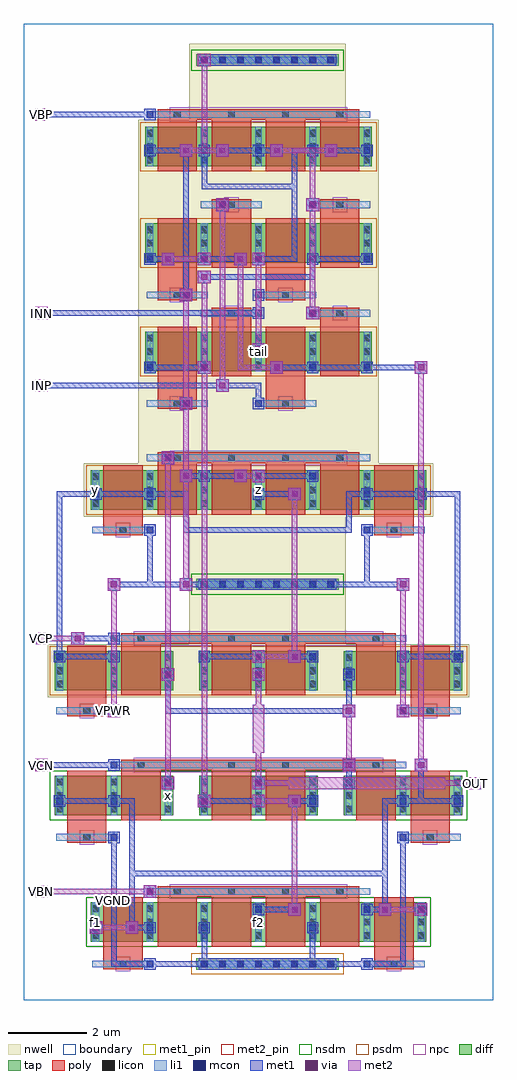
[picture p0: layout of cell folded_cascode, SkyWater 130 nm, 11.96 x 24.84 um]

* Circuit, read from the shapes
.subckt folded_cascode INN INP OUT VBN VBP VCN VCP VGND VPWR f1 f2 tail x y z
XM1 f1 VGND f1 VGND sky130_fd_pr__nfet_01v8 w=1 l=1 m=4
XM2 x VCN f1 VGND sky130_fd_pr__nfet_01v8 w=1 l=1 m=2
XM3 VGND VBN f1 VGND sky130_fd_pr__nfet_01v8 w=1 l=1 m=2
XM4 f2 VBN VGND VGND sky130_fd_pr__nfet_01v8 w=1 l=1 m=2
XM5 OUT VCN f2 VGND sky130_fd_pr__nfet_01v8 w=1 l=1 m=2
XM6 y VPWR y VPWR sky130_fd_pr__pfet_01v8 w=1 l=1 m=4
XM7 x VCP y VPWR sky130_fd_pr__pfet_01v8 w=1 l=1 m=2
XM8 VPWR x y VPWR sky130_fd_pr__pfet_01v8 w=1 l=1 m=2
XM9 f2 VPWR f2 VPWR sky130_fd_pr__pfet_01v8 w=1 l=1 m=2
XM10 f1 VPWR f1 VPWR sky130_fd_pr__pfet_01v8 w=1 l=1 m=2
XM11 tail VBP VPWR VPWR sky130_fd_pr__pfet_01v8 w=1 l=1 m=4
XM12 OUT VCP z VPWR sky130_fd_pr__pfet_01v8 w=1 l=1 m=2
XM13 z x VPWR VPWR sky130_fd_pr__pfet_01v8 w=1 l=1 m=2
XM14 tail INN f2 VPWR sky130_fd_pr__pfet_01v8 w=1 l=1 m=2
XM15 tail INP f1 VPWR sky130_fd_pr__pfet_01v8 w=1 l=1 m=2
.ends

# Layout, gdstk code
import gdstk
lib = gdstk.Library(unit=1e-6, precision=1e-09)
def R(c, l, rs):  # rectangles x0, y0, x1, y1
    for r in rs: c.add(gdstk.rectangle(r[:2], r[2:], *l))
def A(c, l, x, y, w, h, nx, ny, dx, dy):  # array of equal rectangles
    R(c, l, [(x+i*dx, y+j*dy, x+i*dx+w, y+j*dy+h) for i in range(nx) for j in range(ny)])
nwell = (64, 20)
diff = (65, 20)
tap = (65, 44)
poly = (66, 20)
licon = (66, 44)
li1 = (67, 20)
mcon = (67, 44)
met1_pin = (68, 16)
met1 = (68, 20)
via = (68, 44)
met2_pin = (69, 16)
met2 = (69, 20)
nsdm = (93, 44)
psdm = (94, 20)
npc = (95, 20)
boundary = (235, 4)

folded_cascode = lib.new_cell('folded_cascode')
R(folded_cascode, nwell, [(0.615,7.7,11.345,9.06), (4.215,9.06,8.205,12.3), (1.535,12.3,10.425,13.66), (2.915,13.66,9.045,22.4), (4.215,22.4,8.205,24.34)])
A(folded_cascode, diff, 0.795, 4.705, 3.01, 1, 3, 2, 3.68, 3.175)
R(folded_cascode, diff, [(1.715,1.485,10.245,2.485), (1.715,12.48,10.245,13.48), (3.095,16.005,8.865,17.005), (3.095,18.765,8.865,19.765), (3.095,21.22,8.865,22.22)])
R(folded_cascode, tap, [(4.395,0.775,8.025,1.065), (4.395,10.435,8.025,10.725), (4.395,23.775,8.025,24.065)])
A(folded_cascode, poly, 3.41, 1.355, 1, 1.405, 4, 1, 1.38, 0)
A(folded_cascode, poly, 3.41, 12.35, 1, 1.45, 4, 2, 1.38, 8.74)
R(folded_cascode, poly, [(2.03,0.785,3.03,1.055), (8.93,0.785,9.93,1.055), (2.03,0.92,3.03,2.615), (8.93,0.92,9.93,2.615), (3.41,2.625,8.55,2.895), (1.11,4.005,2.11,4.275), (9.85,4.005,10.85,4.275), (1.11,4.14,2.11,5.835), (9.85,4.14,10.85,5.835), (2.49,4.575,3.49,5.98), (4.79,4.575,5.79,5.98), (6.17,4.575,7.17,5.98), (8.47,4.575,9.47,5.98), (2.49,5.845,9.47,6.115), (1.11,7.225,2.11,7.495), (9.85,7.225,10.85,7.495), (1.11,7.36,2.11,9.01), (9.85,7.36,10.85,9.01), (2.49,7.75,3.49,9.2), (4.79,7.75,5.79,9.2), (6.17,7.75,7.17,9.2), (8.47,7.75,9.47,9.2), (2.49,9.065,9.47,9.335), (2.03,11.825,3.03,12.095), (8.93,11.825,9.93,12.095), (2.03,11.96,3.03,13.61), (8.93,11.96,9.93,13.61), (3.41,13.665,8.55,13.935), (3.41,15.045,4.41,15.315), (6.17,15.045,7.17,15.315), (3.41,15.18,4.41,17.135), (6.17,15.18,7.17,17.135), (4.79,15.875,5.79,17.48), (7.55,15.875,8.55,17.48), (4.79,17.345,5.79,17.615), (7.55,17.345,8.55,17.615), (3.41,17.805,4.41,18.075), (6.17,17.805,7.17,18.075), (3.41,17.94,4.41,19.895), (6.17,17.94,7.17,19.895), (4.79,18.635,5.79,20.24), (7.55,18.635,8.55,20.24), (4.79,20.105,5.79,20.375), (7.55,20.105,8.55,20.375), (3.41,22.405,8.55,22.675)])
A(folded_cascode, licon, 4.515, 0.835, 0.17, 0.17, 8, 2, 0.46, 9.66)
A(folded_cascode, licon, 1.755, 1.56, 0.17, 0.17, 7, 3, 1.38, 0.34)
A(folded_cascode, licon, 3.825, 2.675, 0.17, 0.17, 4, 2, 1.38, 11.04)
A(folded_cascode, licon, 0.835, 4.78, 0.17, 0.17, 3, 3, 1.38, 0.34)
A(folded_cascode, licon, 4.515, 4.78, 0.17, 0.17, 3, 3, 1.38, 0.34)
A(folded_cascode, licon, 8.195, 4.78, 0.17, 0.17, 3, 3, 1.38, 0.34)
A(folded_cascode, licon, 0.835, 7.955, 0.17, 0.17, 3, 3, 1.38, 0.34)
A(folded_cascode, licon, 4.515, 7.955, 0.17, 0.17, 3, 3, 1.38, 0.34)
A(folded_cascode, licon, 8.195, 7.955, 0.17, 0.17, 3, 3, 1.38, 0.34)
A(folded_cascode, licon, 1.755, 12.555, 0.17, 0.17, 7, 3, 1.38, 0.34)
A(folded_cascode, licon, 3.135, 16.08, 0.17, 0.17, 5, 3, 1.38, 0.34)
A(folded_cascode, licon, 3.135, 18.84, 0.17, 0.17, 5, 3, 1.38, 0.34)
A(folded_cascode, licon, 3.135, 21.295, 0.17, 0.17, 5, 3, 1.38, 0.34)
A(folded_cascode, licon, 3.825, 22.455, 0.17, 0.17, 4, 1, 1.38, 0)
A(folded_cascode, licon, 4.515, 23.835, 0.17, 0.17, 8, 1, 0.46, 0)
R(folded_cascode, licon, [(2.445,0.835,2.615,1.005), (9.345,0.835,9.515,1.005), (1.525,4.055,1.695,4.225), (10.265,4.055,10.435,4.225), (2.905,5.895,3.075,6.065), (5.205,5.895,5.375,6.065), (6.585,5.895,6.755,6.065), (8.885,5.895,9.055,6.065), (1.525,7.275,1.695,7.445), (10.265,7.275,10.435,7.445), (2.905,9.115,3.075,9.285), (5.205,9.115,5.375,9.285), (6.585,9.115,6.755,9.285), (8.885,9.115,9.055,9.285), (2.445,11.875,2.615,12.045), (9.345,11.875,9.515,12.045), (3.825,15.095,3.995,15.265), (6.585,15.095,6.755,15.265), (5.205,17.395,5.375,17.565), (7.965,17.395,8.135,17.565), (3.825,17.855,3.995,18.025), (6.585,17.855,6.755,18.025), (5.205,20.155,5.375,20.325), (7.965,20.155,8.135,20.325)])
A(folded_cascode, li1, 1.755, 1.48, 0.17, 1.01, 7, 2, 1.38, 10.995)
A(folded_cascode, li1, 0.835, 4.7, 0.17, 1.01, 3, 2, 1.38, 3.175)
A(folded_cascode, li1, 4.515, 4.7, 0.17, 1.01, 3, 2, 1.38, 3.175)
A(folded_cascode, li1, 8.195, 4.7, 0.17, 1.01, 3, 2, 1.38, 3.175)
A(folded_cascode, li1, 3.135, 16, 0.17, 1.01, 5, 2, 1.38, 2.76)
A(folded_cascode, li1, 3.135, 21.215, 0.17, 1.01, 5, 1, 1.38, 0)
R(folded_cascode, li1, [(1.755,0.835,3.305,1.005), (4.435,0.835,7.985,1.005), (8.655,0.835,10.205,1.005), (3.135,2.675,8.825,2.845), (0.835,4.055,2.385,4.225), (9.575,4.055,11.125,4.225), (2.215,5.895,9.745,6.065), (0.835,7.275,2.385,7.445), (9.575,7.275,11.125,7.445), (2.215,9.115,9.745,9.285), (4.435,10.495,7.985,10.665), (1.755,11.875,3.305,12.045), (8.655,11.875,10.205,12.045), (3.135,13.715,8.825,13.885), (3.135,15.095,4.685,15.265), (5.895,15.095,7.445,15.265), (4.515,17.395,6.065,17.565), (7.275,17.395,8.825,17.565), (3.135,17.855,4.685,18.025), (5.895,17.855,7.445,18.025), (4.515,20.155,6.065,20.325), (7.275,20.155,8.825,20.325), (3.135,22.455,8.825,22.625), (4.435,23.835,7.985,24.005)])
A(folded_cascode, mcon, 4.515, 0.835, 0.17, 0.17, 8, 2, 0.46, 9.66)
A(folded_cascode, mcon, 1.755, 1.755, 0.17, 0.17, 3, 1, 1.38, 0)
A(folded_cascode, mcon, 2.215, 4.055, 0.17, 0.17, 1, 3, 0, 0.92)
A(folded_cascode, mcon, 3.595, 5.435, 0.17, 0.17, 3, 2, 2.3, 2.76)
A(folded_cascode, mcon, 3.135, 12.795, 0.17, 0.17, 3, 1, 2.76, 0)
A(folded_cascode, mcon, 3.135, 18.775, 0.17, 0.17, 5, 2, 1.38, 2.76)
A(folded_cascode, mcon, 4.515, 23.835, 0.17, 0.17, 8, 1, 0.46, 0)
R(folded_cascode, mcon, [(3.135,0.835,3.305,1.005), (8.655,0.835,8.825,1.005), (7.275,1.755,7.445,1.925), (5.895,2.215,6.065,2.385), (8.655,2.215,8.825,2.385), (10.035,2.215,10.205,2.385), (3.135,2.675,3.305,2.845), (9.575,4.055,9.745,4.225), (0.835,4.975,1.005,5.145), (4.515,4.975,4.685,5.145), (7.275,4.975,7.445,5.145), (9.575,4.975,9.745,5.145), (10.955,4.975,11.125,5.145), (2.215,7.275,2.385,7.445), (9.575,7.275,9.745,7.445), (0.835,8.655,1.005,8.825), (2.215,8.655,2.385,8.825), (4.515,8.655,4.685,8.825), (7.275,8.655,7.445,8.825), (9.575,8.655,9.745,8.825), (10.955,8.655,11.125,8.825), (2.215,9.115,2.385,9.285), (3.135,11.875,3.305,12.045), (8.655,11.875,8.825,12.045), (1.755,12.795,1.925,12.965), (10.035,12.795,10.205,12.965), (4.515,13.255,4.685,13.425), (7.275,13.255,7.445,13.425), (3.595,13.715,3.765,13.885), (4.055,15.095,4.225,15.265), (5.895,15.095,6.065,15.265), (3.135,16.015,3.305,16.185), (4.515,16.015,4.685,16.185), (7.275,16.015,7.445,16.185), (8.655,16.015,8.825,16.185), (5.895,16.475,6.065,16.645), (5.895,17.395,6.065,17.565), (7.275,17.395,7.445,17.565), (4.055,17.855,4.225,18.025), (5.895,17.855,6.065,18.025), (4.975,20.155,5.145,20.325), (7.275,20.155,7.445,20.325), (3.135,22.455,3.305,22.625)])
R(folded_cascode, met1_pin, [(2.23,0.85,2.37,4.21), (2.155,7.215,2.445,7.505)])
A(folded_cascode, met1, 1.695, 1.695, 0.29, 0.29, 3, 1, 1.38, 0)
A(folded_cascode, met1, 2.155, 3.995, 0.29, 0.29, 1, 3, 0, 0.92)
A(folded_cascode, met1, 3.535, 5.375, 0.29, 0.29, 3, 2, 2.3, 2.76)
A(folded_cascode, met1, 3.075, 12.735, 0.29, 0.29, 3, 1, 2.76, 0)
A(folded_cascode, met1, 3.52, 18.7, 0.32, 0.32, 3, 1, 0.92, 0)
A(folded_cascode, met1, 3.075, 18.715, 0.29, 0.29, 5, 2, 1.38, 2.76)
A(folded_cascode, met1, 4.9, 21.46, 0.32, 0.32, 3, 1, 1.38, 0)
R(folded_cascode, met1, [(3.075,0.775,3.365,1.065), (4.455,0.775,7.965,1.065), (8.595,0.775,8.885,1.065), (2.23,0.85,3.29,0.99), (2.23,0.85,2.37,4.21), (3.15,0.85,4.67,0.99), (4.53,0.85,7.43,0.99), (4.53,0.85,4.67,1.91), (4.53,0.85,4.67,0.99), (7.29,0.85,8.81,0.99), (7.29,0.85,7.43,1.91), (8.67,0.85,9.73,0.99), (9.59,0.85,9.73,4.21), (1.68,1.68,2,2), (2.6,1.68,2.92,2), (7.215,1.695,7.505,1.985), (2.69,1.77,3.29,1.91), (2.69,1.77,2.83,5.13), (6.74,2.14,7.06,2.46), (9.04,2.14,9.36,2.46), (9.96,2.14,10.28,2.46), (5.835,2.155,6.125,2.445), (8.595,2.155,8.885,2.445), (9.975,2.155,10.265,2.445), (5.91,2.23,6.97,2.37), (8.67,2.23,9.27,2.37), (9.13,2.23,9.27,3.29), (3.06,2.6,3.38,2.92), (3.075,2.615,3.365,2.905), (2.69,3.15,9.27,3.29), (9.13,3.15,9.27,5.13), (9.515,3.995,9.805,4.285), (4.44,4.9,4.76,5.22), (5.82,4.9,6.14,5.22), (6.74,4.9,7.06,5.22), (0.775,4.915,1.065,5.205), (4.455,4.915,4.745,5.205), (7.215,4.915,7.505,5.205), (9.515,4.915,9.805,5.205), (10.895,4.915,11.185,5.205), (0.85,4.99,2.37,5.13), (2.23,4.99,2.83,5.13), (4.53,4.99,6.05,5.13), (6.83,4.99,7.43,5.13), (9.13,4.99,9.73,5.13), (9.59,4.99,11.11,5.13), (10.05,4.99,10.19,6.05), (3.52,5.36,3.84,5.68), (5.82,5.36,6.14,5.68), (8.21,5.45,8.35,6.05), (0.3,5.82,0.62,6.14), (8.12,5.82,8.44,6.14), (9.96,5.82,10.28,6.14), (0.39,5.91,2.37,6.05), (2.14,7.2,2.46,7.52), (8.12,7.2,8.44,7.52), (9.5,7.2,9.82,7.52), (2.155,7.215,2.445,7.505), (9.515,7.215,9.805,7.505), (3.61,7.29,8.35,7.43), (3.61,7.29,3.75,8.35), (8.21,7.29,8.35,8.35), (3.52,8.12,3.84,8.44), (5.82,8.12,6.14,8.44), (5.82,8.58,6.14,8.9), (6.74,8.58,7.06,8.9), (0.775,8.595,1.065,8.885), (2.155,8.595,2.445,8.885), (4.455,8.595,4.745,8.885), (7.215,8.595,7.505,8.885), (9.515,8.595,9.805,8.885), (10.895,8.595,11.185,8.885), (0.85,8.67,2.37,8.81), (0.85,8.67,0.99,12.95), (4.53,8.67,6.05,8.81), (6.83,8.67,7.43,8.81), (9.59,8.67,11.11,8.81), (10.97,8.67,11.11,12.95), (1.22,9.04,1.54,9.36), (2.155,9.055,2.445,9.345), (1.31,9.13,2.37,9.27), (2.14,10.42,2.46,10.74), (3.98,10.42,4.3,10.74), (9.5,10.42,9.82,10.74), (4.455,10.435,7.965,10.725), (2.23,10.51,3.29,10.65), (3.15,10.51,4.21,10.65), (3.15,10.51,3.29,12.03), (4.07,10.51,4.67,10.65), (4.53,10.51,8.81,10.65), (4.53,10.51,4.67,10.65), (8.67,10.51,9.73,10.65), (8.67,10.51,8.81,12.03), (3.075,11.815,3.365,12.105), (8.595,11.815,8.885,12.105), (4.07,11.89,4.21,12.95), (4.07,11.89,8.35,12.03), (8.21,11.89,8.35,12.95), (6.74,12.72,7.06,13.04), (1.695,12.735,1.985,13.025), (9.975,12.735,10.265,13.025), (0.85,12.81,1.91,12.95), (1.77,12.81,3.29,12.95), (3.15,12.81,4.21,12.95), (5.91,12.81,6.97,12.95), (8.21,12.81,8.81,12.95), (8.67,12.81,10.19,12.95), (10.05,12.81,11.11,12.95), (3.98,13.18,4.3,13.5), (5.36,13.18,5.68,13.5), (5.82,13.18,6.14,13.5), (4.455,13.195,4.745,13.485), (7.215,13.195,7.505,13.485), (4.07,13.27,4.67,13.41), (4.53,13.27,5.59,13.41), (5.91,13.27,7.43,13.41), (3.52,13.64,3.84,13.96), (3.535,13.655,3.825,13.945), (3.98,15.02,4.3,15.34), (3.995,15.035,4.285,15.325), (5.835,15.035,6.125,15.325), (5.91,15.11,6.05,15.71), (0.3,15.48,0.62,15.8), (4.9,15.48,5.22,15.8), (0.39,15.57,6.05,15.71), (4.44,15.94,4.76,16.26), (6.28,15.94,6.6,16.26), (9.96,15.94,10.28,16.26), (3.075,15.955,3.365,16.245), (4.455,15.955,4.745,16.245), (7.215,15.955,7.505,16.245), (8.595,15.955,8.885,16.245), (3.15,16.03,4.67,16.17), (6.37,16.03,7.43,16.17), (7.29,16.03,8.81,16.17), (8.67,16.03,10.19,16.17), (5.82,16.4,6.14,16.72), (5.835,16.415,6.125,16.705), (0.3,17.32,0.62,17.64), (7.2,17.32,7.52,17.64), (5.835,17.335,6.125,17.625), (7.215,17.335,7.505,17.625), (0.39,17.41,6.05,17.55), (5.91,17.41,6.05,18.01), (3.98,17.78,4.3,18.1), (3.995,17.795,4.285,18.085), (5.835,17.795,6.125,18.085), (4.07,17.87,4.21,21.69), (4.44,18.24,4.76,18.56), (4.53,18.33,7.43,18.47), (7.29,18.33,7.43,18.93), (5.82,18.7,6.14,19.02), (3.15,18.79,3.75,18.93), (4.53,18.79,5.59,18.93), (5.91,18.79,6.97,18.93), (6.83,18.79,6.97,21.69), (7.29,18.79,8.81,18.93), (4.9,20.08,5.22,20.4), (7.2,20.08,7.52,20.4), (4.915,20.095,5.205,20.385), (7.215,20.095,7.505,20.385), (4.53,20.63,6.97,20.77), (4.53,20.63,4.67,21.69), (3.98,21.46,4.3,21.78), (3.15,21.55,4.21,21.69), (4.99,21.55,6.05,21.69), (5.91,21.55,6.51,21.69), (6.83,21.55,7.43,21.69), (7.75,21.55,8.81,21.69), (0.3,22.38,0.62,22.7), (3.075,22.395,3.365,22.685), (0.39,22.47,3.29,22.61), (4.44,23.76,4.76,24.08), (4.455,23.775,7.965,24.065), (4.53,23.85,4.67,23.99)])
A(folded_cascode, via, 3.605, 18.785, 0.15, 0.15, 3, 1, 0.92, 0)
A(folded_cascode, via, 4.985, 21.545, 0.15, 0.15, 3, 1, 1.38, 0)
R(folded_cascode, via, [(1.765,1.765,1.915,1.915), (2.685,1.765,2.835,1.915), (6.825,2.225,6.975,2.375), (9.125,2.225,9.275,2.375), (10.045,2.225,10.195,2.375), (3.145,2.685,3.295,2.835), (4.525,4.985,4.675,5.135), (5.905,4.985,6.055,5.135), (6.825,4.985,6.975,5.135), (3.605,5.445,3.755,5.595), (5.905,5.445,6.055,5.595), (0.385,5.905,0.535,6.055), (8.205,5.905,8.355,6.055), (10.045,5.905,10.195,6.055), (2.225,7.285,2.375,7.435), (8.205,7.285,8.355,7.435), (9.585,7.285,9.735,7.435), (3.605,8.205,3.755,8.355), (5.905,8.205,6.055,8.355), (5.905,8.665,6.055,8.815), (6.825,8.665,6.975,8.815), (1.305,9.125,1.455,9.275), (2.225,10.505,2.375,10.655), (4.065,10.505,4.215,10.655), (9.585,10.505,9.735,10.655), (6.825,12.805,6.975,12.955), (4.065,13.265,4.215,13.415), (5.445,13.265,5.595,13.415), (5.905,13.265,6.055,13.415), (3.605,13.725,3.755,13.875), (4.065,15.105,4.215,15.255), (0.385,15.565,0.535,15.715), (4.985,15.565,5.135,15.715), (4.525,16.025,4.675,16.175), (6.365,16.025,6.515,16.175), (10.045,16.025,10.195,16.175), (5.905,16.485,6.055,16.635), (0.385,17.405,0.535,17.555), (7.285,17.405,7.435,17.555), (4.065,17.865,4.215,18.015), (4.525,18.325,4.675,18.475), (5.905,18.785,6.055,18.935), (4.985,20.165,5.135,20.315), (7.285,20.165,7.435,20.315), (4.065,21.545,4.215,21.695), (0.385,22.465,0.535,22.615), (4.525,23.845,4.675,23.995)])
A(folded_cascode, met2_pin, 0.31, 2.61, 0.3, 0.3, 1, 3, 0, 3.22)
R(folded_cascode, met2_pin, [(11.35,5.37,11.65,5.67), (0.31,15.49,0.61,15.79), (0.31,17.33,0.61,17.63), (0.31,22.39,0.61,22.69)])
A(folded_cascode, met2, 0.31, 2.61, 0.3, 0.3, 1, 3, 0, 3.22)
A(folded_cascode, met2, 0.39, 2.69, 0.14, 0.14, 1, 3, 0, 3.22)
A(folded_cascode, met2, 3.52, 18.7, 0.32, 0.32, 3, 1, 0.92, 0)
A(folded_cascode, met2, 4.9, 21.46, 0.32, 0.32, 3, 1, 1.38, 0)
R(folded_cascode, met2, [(1.68,1.68,2,2), (2.6,1.68,2.92,2), (1.77,1.77,2.83,1.91), (6.74,2.14,7.06,2.46), (9.04,2.14,9.36,2.46), (9.96,2.14,10.28,2.46), (6.83,2.23,6.97,5.13), (9.13,2.23,10.19,2.37), (3.06,2.6,3.38,2.92), (0.39,2.69,3.29,2.83), (4.44,4.9,4.76,5.22), (5.82,4.9,6.14,5.22), (6.74,4.9,7.06,5.22), (4.53,4.99,4.67,16.17), (5.91,4.99,6.97,5.13), (3.52,5.36,3.84,5.68), (5.82,5.36,6.14,5.68), (6.75,5.37,10.73,5.67), (11.35,5.37,11.65,5.67), (3.61,5.45,3.75,8.35), (5.91,5.45,6.05,6.51), (5.91,5.45,6.97,5.59), (10.51,5.45,11.57,5.59), (11.43,5.45,11.57,5.59), (0.3,5.82,0.62,6.14), (8.12,5.82,8.44,6.14), (9.96,5.82,10.28,6.14), (8.21,5.91,8.35,7.43), (10.05,5.91,10.19,16.17), (5.83,6.29,6.13,7.51), (2.14,7.2,2.46,7.52), (8.12,7.2,8.44,7.52), (9.5,7.2,9.82,7.52), (2.23,7.29,2.37,10.65), (5.91,7.29,6.05,8.35), (9.59,7.29,9.73,10.65), (3.52,8.12,3.84,8.44), (5.82,8.12,6.14,8.44), (3.61,8.21,3.75,13.87), (5.82,8.58,6.14,8.9), (6.74,8.58,7.06,8.9), (5.91,8.67,6.97,8.81), (6.83,8.67,6.97,12.95), (1.22,9.04,1.54,9.36), (0.39,9.13,1.45,9.27), (2.14,10.42,2.46,10.74), (3.98,10.42,4.3,10.74), (9.5,10.42,9.82,10.74), (4.07,10.51,4.21,13.41), (6.74,12.72,7.06,13.04), (3.98,13.18,4.3,13.5), (5.36,13.18,5.68,13.5), (5.82,13.18,6.14,13.5), (4.07,13.27,4.21,15.25), (5.45,13.27,6.05,13.41), (3.52,13.64,3.84,13.96), (3.98,15.02,4.3,15.34), (4.07,15.11,4.21,18.01), (0.3,15.48,0.62,15.8), (4.9,15.48,5.22,15.8), (0.31,15.49,0.61,15.79), (0.39,15.57,0.53,15.71), (4.99,15.57,5.13,20.31), (4.44,15.94,4.76,16.26), (6.28,15.94,6.6,16.26), (9.96,15.94,10.28,16.26), (4.53,16.03,4.67,18.47), (5.45,16.03,6.51,16.17), (5.45,16.03,5.59,18.93), (5.82,16.4,6.14,16.72), (5.91,16.49,6.05,18.93), (0.3,17.32,0.62,17.64), (7.2,17.32,7.52,17.64), (0.31,17.33,0.61,17.63), (0.39,17.41,0.53,17.55), (7.29,17.41,7.43,20.31), (3.98,17.78,4.3,18.1), (4.44,18.24,4.76,18.56), (5.82,18.7,6.14,19.02), (3.61,18.79,4.67,18.93), (4.9,20.08,5.22,20.4), (7.2,20.08,7.52,20.4), (7.29,20.17,7.43,21.69), (3.98,21.46,4.3,21.78), (4.07,21.55,5.13,21.69), (4.53,21.55,4.67,23.99), (6.37,21.55,7.43,21.69), (7.29,21.55,7.89,21.69), (0.3,22.38,0.62,22.7), (0.31,22.39,0.61,22.69), (0.39,22.47,0.53,22.61), (4.44,23.76,4.76,24.08)])
R(folded_cascode, nsdm, [(1.59,1.36,10.37,2.61), (0.67,4.58,11.29,5.83), (4.27,10.31,8.15,10.85), (4.27,23.65,8.15,24.19)])
R(folded_cascode, psdm, [(4.27,0.65,8.15,1.19), (0.67,7.755,11.29,9.005), (1.59,12.355,10.37,13.605), (2.97,15.88,8.99,17.13), (2.97,18.64,8.99,19.89), (2.97,21.095,8.99,22.345)])
R(folded_cascode, npc, [(2.345,0.735,2.715,1.105), (9.245,0.735,9.615,1.105), (3.725,2.575,8.235,2.945), (1.425,3.955,1.795,4.325), (10.165,3.955,10.535,4.325), (2.805,5.795,9.155,6.165), (1.425,7.175,1.795,7.545), (10.165,7.175,10.535,7.545), (2.805,9.015,9.155,9.385), (2.345,11.775,2.715,12.145), (9.245,11.775,9.615,12.145), (3.725,13.615,8.235,13.985), (3.725,14.995,4.095,15.365), (6.485,14.995,6.855,15.365), (5.105,17.295,5.475,17.665), (7.865,17.295,8.235,17.665), (3.725,17.755,4.095,18.125), (6.485,17.755,6.855,18.125), (5.105,20.055,5.475,20.425), (7.865,20.055,8.235,20.425), (3.725,22.355,8.235,22.725)])
R(folded_cascode, boundary, [(0,0,11.96,24.84)])
folded_cascode.add(gdstk.Label('f1', (1.84,1.985), layer=67, texttype=5))
folded_cascode.add(gdstk.Label('f2', (5.98,1.985), layer=67, texttype=5))
folded_cascode.add(gdstk.Label('x', (3.68,5.205), layer=67, texttype=5))
folded_cascode.add(gdstk.Label('y', (1.84,12.98), layer=67, texttype=5))
folded_cascode.add(gdstk.Label('z', (5.98,12.98), layer=67, texttype=5))
folded_cascode.add(gdstk.Label('tail', (5.98,16.505), layer=67, texttype=5))
folded_cascode.add(gdstk.Label('VPWR', (2.3,7.36), layer=68, texttype=5))
folded_cascode.add(gdstk.Label('VGND', (2.3,2.53), layer=68, texttype=5))
folded_cascode.add(gdstk.Label('INP', (0.46,15.64), layer=69, texttype=5))
folded_cascode.add(gdstk.Label('INN', (0.46,17.48), layer=69, texttype=5))
folded_cascode.add(gdstk.Label('VBP', (0.46,22.54), layer=69, texttype=5))
folded_cascode.add(gdstk.Label('VBN', (0.46,2.76), layer=69, texttype=5))
folded_cascode.add(gdstk.Label('VCN', (0.46,5.98), layer=69, texttype=5))
folded_cascode.add(gdstk.Label('VCP', (0.46,9.2), layer=69, texttype=5))
folded_cascode.add(gdstk.Label('OUT', (11.5,5.52), layer=69, texttype=5))
folded_cascode.add(gdstk.Label('VPWR', (2.3,7.36), layer=68, texttype=16))
folded_cascode.add(gdstk.Label('VGND', (2.3,2.53), layer=68, texttype=16))
folded_cascode.add(gdstk.Label('INP', (0.46,15.64), layer=69, texttype=16))
folded_cascode.add(gdstk.Label('INN', (0.46,17.48), layer=69, texttype=16))
folded_cascode.add(gdstk.Label('VBP', (0.46,22.54), layer=69, texttype=16))
folded_cascode.add(gdstk.Label('VBN', (0.46,2.76), layer=69, texttype=16))
folded_cascode.add(gdstk.Label('VCN', (0.46,5.98), layer=69, texttype=16))
folded_cascode.add(gdstk.Label('VCP', (0.46,9.2), layer=69, texttype=16))
folded_cascode.add(gdstk.Label('OUT', (11.5,5.52), layer=69, texttype=16))

lib.write_gds('folded_cascode.gds')
